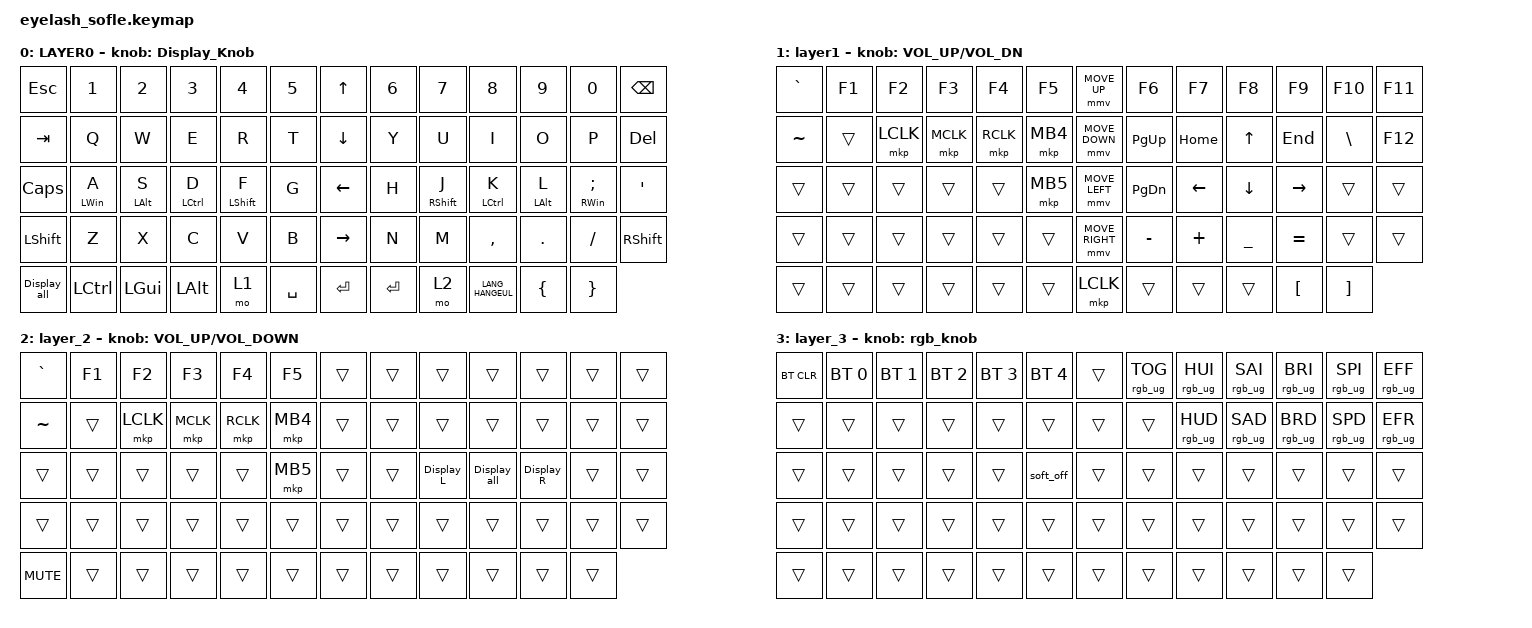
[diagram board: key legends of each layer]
#define ZMK_POINTING_DEFAULT_MOVE_VAL 1200  // 600
#define ZMK_POINTING_DEFAULT_SCRL_VAL 25   // 10

#include <input/processors.dtsi>
#include <zephyr/dt-bindings/input/input-event-codes.h>
#include <behaviors.dtsi>
#include <dt-bindings/zmk/bt.h>
#include <dt-bindings/zmk/keys.h>
#include <dt-bindings/zmk/pointing.h>
#include <dt-bindings/zmk/rgb.h>

&mmv_input_listener { input-processors = <&zip_xy_scaler 2 1>; };

&msc_input_listener { input-processors = <&zip_scroll_scaler 2 1>; };

&msc {
    acceleration-exponent = <1>;      // 0
    time-to-max-speed-ms = <100>;       // 300
    delay-ms = <0>;                   // 0
};

&mmv {
    time-to-max-speed-ms = <500>;
    acceleration-exponent = <1>;
    trigger-period-ms = <16>;
};

/ {
    scroll_encoder: scroll_encoder {
        compatible = "zmk,behavior-sensor-rotate";
        #sensor-binding-cells = <0>;
        bindings = <&msc SCRL_DOWN>, <&msc SCRL_UP>;

        tap-ms = <100>;
    };

    Display_Knob: Display_Knob {
        compatible = "zmk,behavior-sensor-rotate";
        label = "DISPLAY_KNOB";
        #sensor-binding-cells = <0>;
        bindings = <&Display_R>, <&Display_L>;
    };

    rgb_knob: rgb_knob {
        compatible = "zmk,behavior-sensor-rotate";
        label = "RGB_KNOB";
        #sensor-binding-cells = <0>;
        bindings = <&rgb_ug RGB_EFF>, <&rgb_ug RGB_EFR>;

        tap-ms = <1>;
    };

    hm: homerow_mods {
        compatible = "zmk,behavior-hold-tap";
        label = "HOMEROW_MODS";
        bindings = <&kp>, <&kp>;

        #binding-cells = <2>;
        tapping-term-ms = <200>;
        quick-tap-ms = <130>;
        flavor = "tap-preferred";
    };

    macros {
        Display_R: Display_R {
            compatible = "zmk,behavior-macro";
            #binding-cells = <0>;
            bindings = <&sk LC(LEFT_WIN) &kp RIGHT_ARROW>;
            label = "DISPLAY_R";
        };

        Display_L: Display_L {
            compatible = "zmk,behavior-macro";
            #binding-cells = <0>;
            bindings = <&sk LC(LEFT_WIN) &kp LEFT_ARROW>;
            label = "DISPLAY_L";
        };

        Display_all: Display_all {
            compatible = "zmk,behavior-macro";
            #binding-cells = <0>;
            bindings = <&sk LEFT_WIN &kp TAB>;
            label = "DISPLAY_ALL";
        };
    };

    behaviors {
    };

    combos {
        compatible = "zmk,combos";

        Layer_3 {
            bindings = <&sl 3>;
            key-positions = <56 60>;
        };

        CTRL_C {
            bindings = <&kp LC(C)>;
            key-positions = <41 43>;
        };

        CTRL_V {
            bindings = <&kp LC(V)>;
            key-positions = <42 43>;
        };

        CTRL_X {
            bindings = <&kp LC(X)>;
            key-positions = <42 41>;
        };

        CTRL+Z {
            bindings = <&kp LC(Z)>;
            key-positions = <40 41>;
        };
    };

    keymap {
        compatible = "zmk,keymap";

        layer_base {
            bindings = <
&kp ESC       &kp N1          &kp N2          &kp N3              &kp N4            &kp N5       &kp UP_ARROW     &kp N6   &kp N7             &kp N8              &kp NUMBER_9    &kp NUMBER_0        &kp BACKSPACE
&kp TAB       &kp Q           &kp W           &kp E               &kp R             &kp T        &kp DOWN_ARROW   &kp Y    &kp U              &kp I               &kp O           &kp P               &kp DELETE
&kp CAPS      &hm LEFT_WIN A  &hm LEFT_ALT S  &hm LEFT_CONTROL D  &hm LEFT_SHIFT F  &kp G        &kp LEFT_ARROW   &kp H    &hm RIGHT_SHIFT J  &hm LEFT_CONTROL K  &hm LEFT_ALT L  &hm RIGHT_WIN SEMI  &kp APOS
&kp LSHFT     &kp Z           &kp X           &kp C               &kp V             &kp B        &kp RIGHT_ARROW  &kp N    &kp M              &kp COMMA           &kp DOT         &kp FSLH            &kp RIGHT_SHIFT
&Display_all  &kp LCTRL       &kp LEFT_GUI    &kp LEFT_ALT        &mo 1             &kp SPACE    &kp ENTER        &kp RET  &mo 2              &kp LANG_HANGEUL    &kp LEFT_BRACE  &kp RIGHT_BRACE
            >;

            sensor-bindings = <&Display_Knob>;
            display-name = "LAYER0";
            label = "layer_0";
        };

        layer_right {
            bindings = <
&kp GRAVE  &kp F1  &kp F2     &kp F3     &kp F4     &kp F5      &mmv MOVE_UP     &kp F6     &kp F7    &kp F8          &kp F9            &kp F10            &kp F11
&kp TILDE  &trans  &mkp LCLK  &mkp MCLK  &mkp RCLK  &mkp MB4    &mmv MOVE_DOWN   &kp PG_UP  &kp HOME  &kp UP          &kp END           &kp BACKSLASH      &kp F12
&trans     &trans  &trans     &trans     &trans     &mkp MB5    &mmv MOVE_LEFT   &kp PG_DN  &kp LEFT  &kp DOWN        &kp RIGHT         &trans             &trans
&trans     &trans  &trans     &trans     &trans     &trans      &mmv MOVE_RIGHT  &kp MINUS  &kp PLUS  &kp UNDERSCORE  &kp EQUAL         &trans             &trans
&trans     &trans  &trans     &trans     &trans     &trans      &mkp LCLK        &trans     &trans    &trans          &kp LEFT_BRACKET  &kp RIGHT_BRACKET
            >;

            display-name = "layer1";
            sensor-bindings = <&inc_dec_kp C_VOL_UP C_VOL_DN>;
            label = "layer_1";
        };

        layer_left {
            bindings = <
&kp GRAVE   &kp F1  &kp F2     &kp F3     &kp F4     &kp F5      &trans  &trans  &trans      &trans        &trans      &trans  &trans
&kp TILDE   &trans  &mkp LCLK  &mkp MCLK  &mkp RCLK  &mkp MB4    &trans  &trans  &trans      &trans        &trans      &trans  &trans
&trans      &trans  &trans     &trans     &trans     &mkp MB5    &trans  &trans  &Display_L  &Display_all  &Display_R  &trans  &trans
&trans      &trans  &trans     &trans     &trans     &trans      &trans  &trans  &trans      &trans        &trans      &trans  &trans
&kp K_MUTE  &trans  &trans     &trans     &trans     &trans      &trans  &trans  &trans      &trans        &trans      &trans
            >;

            sensor-bindings = <&inc_dec_kp C_VOLUME_UP C_VOLUME_DOWN>;
            label = "layer_2";
        };

        layer_sys {
            bindings = <
&bt BT_CLR  &bt BT_SEL 0  &bt BT_SEL 1  &bt BT_SEL 2  &bt BT_SEL 3  &bt BT_SEL 4    &trans  &rgb_ug RGB_TOG  &rgb_ug RGB_HUI  &rgb_ug RGB_SAI  &rgb_ug RGB_BRI  &rgb_ug RGB_SPI  &rgb_ug RGB_EFF
&trans      &trans        &trans        &trans        &trans        &trans          &trans  &trans           &rgb_ug RGB_HUD  &rgb_ug RGB_SAD  &rgb_ug RGB_BRD  &rgb_ug RGB_SPD  &rgb_ug RGB_EFR
&trans      &trans        &trans        &trans        &trans        &soft_off       &trans  &trans           &trans           &trans           &trans           &trans           &trans
&trans      &trans        &trans        &trans        &trans        &trans          &trans  &trans           &trans           &trans           &trans           &trans           &trans
&trans      &trans        &trans        &trans        &trans        &trans          &trans  &trans           &trans           &trans           &trans           &trans
            >;

            sensor-bindings = <&rgb_knob>;
            label = "layer_3";
        };
    };
};
